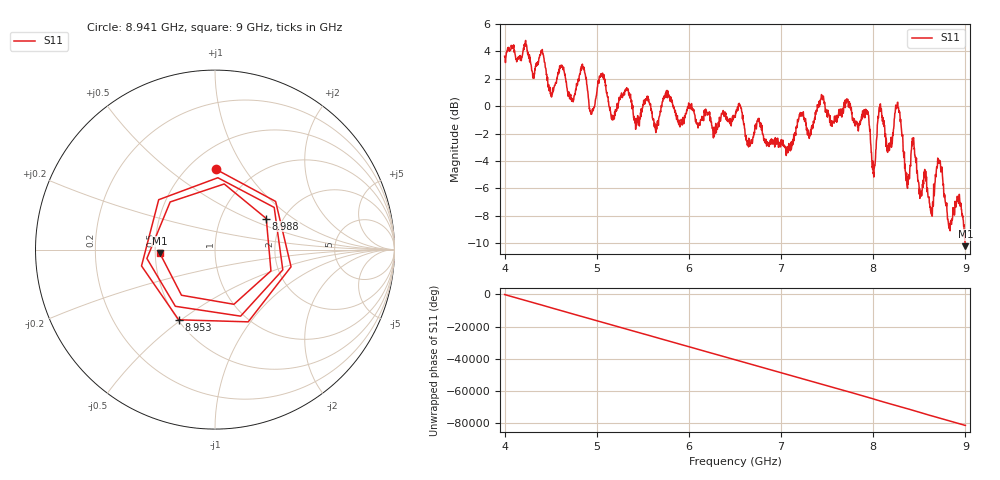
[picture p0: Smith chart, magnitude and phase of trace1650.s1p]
! Created with skrf 1.8.0 (http://scikit-rf.org).
# Hz S RI R 50.0
!freq ReS11 ImS11
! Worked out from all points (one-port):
!   1601 points, 4 GHz to 9 GHz, reference 50 ohm
!   lowest |S11| = -10.2 dB at 9 GHz (marker M1), VSWR 1.89, Z = 26.4 - j1.12 ohm
!   |S11| at or under -10 dB: 8.996672 GHz to end of sweep
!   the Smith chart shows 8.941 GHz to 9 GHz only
!   S11 on the Smith chart (normalised r, x): 8.941 GHz: 0.67, +0.75; 8.953 GHz: 0.50, -0.49; 8.988 GHz: 1.64, +0.64; 9 GHz: 0.53, -0.02
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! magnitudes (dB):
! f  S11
! 4 GHz  3.6
! 4.403 GHz  3.9
! 4.506 GHz  0.9
! 4.625 GHz  3.0
! 4.728 GHz  0.4
! 4.85 GHz  2.8
! 4.944 GHz  -0.6
! 5.053 GHz  2.2
! 5.166 GHz  -0.7
! 5.25 GHz  0.6
! 5.875 GHz  -0.7
! 6.5 GHz  -0.7
! 7.125 GHz  -2.8
! 7.75 GHz  0.2
! 7.931 GHz  -0.4
! 8.003 GHz  -4.8
! 8.069 GHz  -0.1
! 8.175 GHz  -3.2
! 8.266 GHz  0.3
! 8.375 GHz  -5.2
! 8.434 GHz  -2.4
! 8.628 GHz  -7.5
! 8.712 GHz  -4.2
! 8.825 GHz  -8.9
! 8.941 GHz  -7.0
! 8.953 GHz  -7.1
! 8.988 GHz  -9.5
! 9 GHz  -10.2
